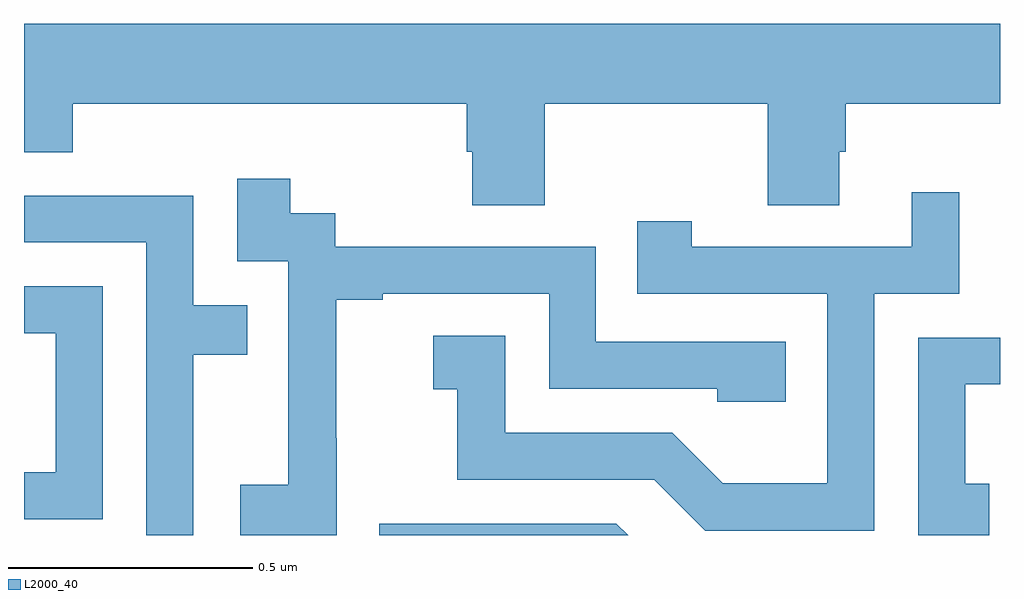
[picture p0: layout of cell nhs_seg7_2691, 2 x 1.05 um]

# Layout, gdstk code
import gdstk
lib = gdstk.Library(unit=1e-6, precision=1e-09)
def P(c, l, *ps):  # polygons
    for p in ps: c.add(gdstk.Polygon(p, *l))
L2000_40 = (2000, 40)

nhs_seg7_2691 = lib.new_cell('nhs_seg7_2691')
P(nhs_seg7_2691, L2000_40, [(149.067,1065.884),(149.524,1065.884),(149.524,1065.676),(149.671,1065.676),(149.671,1065.786),(149.684,1065.786),(149.684,1065.884),(150,1065.884),(150,1066.048),(148,1066.048),(148,1065.785),(148.1,1065.785),(148.1,1065.884),(148.907,1065.884),(148.907,1065.786),(148.919,1065.786),(148.919,1065.676),(149.067,1065.676)],
  [(148.641,1065.199),(148.64,1065.199),(148.64,1065.483),(148.735,1065.483),(148.735,1065.495),(149.076,1065.495),(149.076,1065.3),(149.421,1065.3),(149.421,1065.273),(149.561,1065.273),(149.561,1065.396),(149.172,1065.396),(149.172,1065.591),(148.638,1065.591),(148.638,1065.66),(148.546,1065.66),(148.546,1065.73),(148.437,1065.73),(148.437,1065.561),(148.542,1065.561),(148.542,1065.332),(148.541,1065.332),(148.541,1065.103),(148.443,1065.103),(148.443,1065),(148.641,1065)],
  [(149.742,1065.495),(149.916,1065.495),(149.916,1065.703),(149.819,1065.703),(149.819,1065.591),(149.368,1065.591),(149.368,1065.643),(149.257,1065.643),(149.257,1065.495),(149.646,1065.495),(149.646,1065.106),(149.432,1065.106),(149.328,1065.21),(148.986,1065.21),(148.986,1065.409),(148.839,1065.409),(148.839,1065.299),(148.888,1065.299),(148.888,1065.114),(149.291,1065.114),(149.396,1065.009),(149.742,1065.009)],
  [(148.347,1065.37),(148.457,1065.37),(148.457,1065.471),(148.347,1065.471),(148.347,1065.696),(148,1065.696),(148,1065.6),(148.251,1065.6),(148.251,1065),(148.347,1065)],
  [(148.161,1065.51),(148,1065.51),(148,1065.414),(148.065,1065.414),(148.065,1065.129),(148,1065.129),(148,1065.033),(148.161,1065.033)],
  [(149.978,1065.105),(149.929,1065.105),(149.929,1065.309),(150,1065.309),(150,1065.405),(149.832,1065.405),(149.832,1065),(149.978,1065)],
  [(149.214,1065.024),(148.728,1065.024),(148.728,1065),(149.238,1065)])

lib.write_gds('nhs_seg7_2691.gds')
